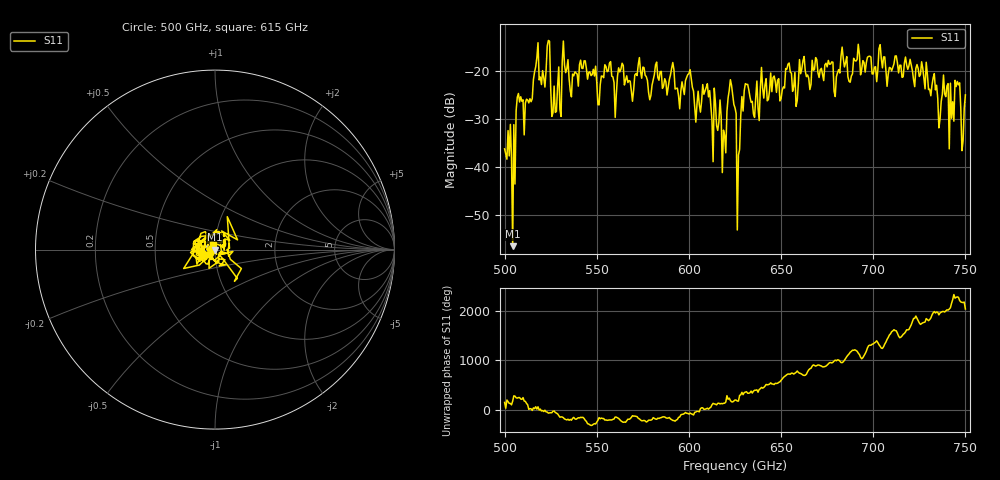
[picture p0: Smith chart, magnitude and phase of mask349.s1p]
!Created with skrf (http://scikit-rf.org).
# GHz S MA R 50.0
!freq magS11 angS11
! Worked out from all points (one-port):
!   401 points, 500 GHz to 750 GHz, reference 50 ohm
!   lowest |S11| = -56.4 dB at 504.4 GHz (marker M1), VSWR 1.00, Z = 49.8 - j0.00639 ohm
!   |S11| at or under -10 dB: start of sweep to end of sweep
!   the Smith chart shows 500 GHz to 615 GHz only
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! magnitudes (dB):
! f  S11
! 500 GHz  -36.2
! 504.4 GHz  -56.4
! 507.5 GHz  -24.7
! 511.9 GHz  -25.9
! 516.9 GHz  -19.2
! 523.8 GHz  -13.7
! 526.9 GHz  -23.2
! 531.2 GHz  -18.2
! 562.5 GHz  -20.2
! 590.6 GHz  -19.5
! 593.8 GHz  -23.6
! 610 GHz  -22.7
! 618.8 GHz  -32.3
! 622.5 GHz  -21.8
! 625 GHz  -27.7
! 627.5 GHz  -36.3
! 631.2 GHz  -22.8
! 635 GHz  -29.0
! 656.2 GHz  -24.3
! 687.5 GHz  -22.4
! 691.2 GHz  -17.7
! 718.8 GHz  -19.7
! 736.2 GHz  -30.0
! 739.4 GHz  -25.4
! 742.5 GHz  -29.9
! 745.6 GHz  -22.2
! 748.1 GHz  -36.6
! 750 GHz  -25.0
